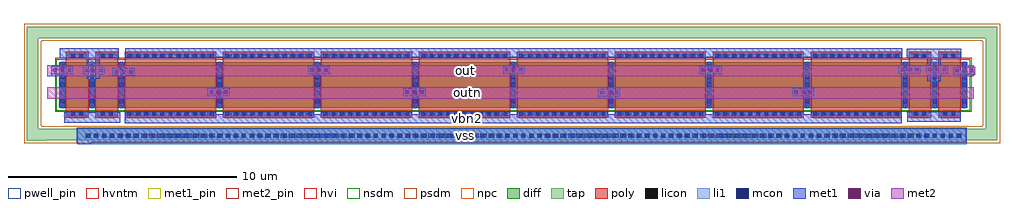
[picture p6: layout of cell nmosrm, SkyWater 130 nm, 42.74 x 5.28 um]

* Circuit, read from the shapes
.subckt nmosrm out outn vbn2 vss
XM1 out out out vss sky130_fd_pr__nfet_g5v0d10v5 w=2 l=1 m=4
XM2 outn vbn2 out vss sky130_fd_pr__nfet_g5v0d10v5 w=2 l=4 m=8
.ends

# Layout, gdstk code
from math import pi, radians
import gdstk
lib = gdstk.Library(unit=1e-6, precision=1e-09)
def R(c, l, rs):  # rectangles x0, y0, x1, y1
    for r in rs: c.add(gdstk.rectangle(r[:2], r[2:], *l))
def A(c, l, x, y, w, h, nx, ny, dx, dy):  # array of equal rectangles
    R(c, l, [(x+i*dx, y+j*dy, x+i*dx+w, y+j*dy+h) for i in range(nx) for j in range(ny)])
diff = (65, 20)
tap = (65, 44)
poly = (66, 20)
licon = (66, 44)
li1 = (67, 20)
mcon = (67, 44)
met1_pin = (68, 16)
met1 = (68, 20)
via = (68, 44)
met2_pin = (69, 16)
met2 = (69, 20)
hvi = (75, 20)
nsdm = (93, 44)
psdm = (94, 20)
npc = (95, 20)
pwell_pin = (122, 16)
hvntm = (125, 20)

viam1m2_1u = lib.new_cell('viam1m2_1u')
R(viam1m2_1u, met1, [(-0.02,-0.04,0.33,0.94)])
A(viam1m2_1u, via, 0.075, 0.06, 0.15, 0.15, 1, 3, 0, 0.32)
R(viam1m2_1u, met2, [(-0.02,-0.04,0.33,0.94)])

sky130_fd_pr__nfet_g5v0d = lib.new_cell('sky130_fd_pr__nfet_g5v0d10v5_8EXDUM')
R(sky130_fd_pr__nfet_g5v0d, diff, [(-1.435,-1,1.435,1)])
R(sky130_fd_pr__nfet_g5v0d, poly, [(-1.145,-1.44,-0.145,1.44), (0.145,-1.44,1.145,1.44)])
A(sky130_fd_pr__nfet_g5v0d, licon, -1.375, -0.935, 0.17, 0.17, 3, 6, 1.29, 0.34)
R(sky130_fd_pr__nfet_g5v0d, licon, [(-0.9,-1.36,-0.73,-1.19), (-0.56,-1.36,-0.39,-1.19), (0.39,-1.36,0.56,-1.19), (0.73,-1.36,0.9,-1.19), (-0.9,1.19,-0.73,1.36), (-0.56,1.19,-0.39,1.36), (0.39,1.19,0.56,1.36), (0.73,1.19,0.9,1.36)])
A(sky130_fd_pr__nfet_g5v0d, li1, -1.375, -1.02, 0.17, 2.04, 3, 1, 1.29, 0)
R(sky130_fd_pr__nfet_g5v0d, li1, [(-1.145,-1.36,-0.145,-1.19), (0.145,-1.36,1.145,-1.19), (-1.145,1.19,-0.145,1.36), (0.145,1.19,1.145,1.36)])
A(sky130_fd_pr__nfet_g5v0d, mcon, -1.375, -0.805, 0.17, 0.17, 3, 5, 1.29, 0.36)
R(sky130_fd_pr__nfet_g5v0d, mcon, [(-0.91,-1.36,-0.74,-1.19), (-0.55,-1.36,-0.38,-1.19), (0.38,-1.36,0.55,-1.19), (0.74,-1.36,0.91,-1.19), (-0.91,1.19,-0.74,1.36), (-0.55,1.19,-0.38,1.36), (0.38,1.19,0.55,1.36), (0.74,1.19,0.91,1.36)])
A(sky130_fd_pr__nfet_g5v0d, met1, -1.405, -1, 0.23, 2, 3, 1, 1.29, 0)
R(sky130_fd_pr__nfet_g5v0d, met1, [(-1.125,-1.39,-0.165,-1.16), (0.165,-1.39,1.125,-1.16), (-1.125,1.16,-0.165,1.39), (0.165,1.16,1.125,1.39)])
R(sky130_fd_pr__nfet_g5v0d, hvi, [(-1.62,-1.185,1.62,1.185)])
R(sky130_fd_pr__nfet_g5v0d, nsdm, [(-1.56,-1.125,1.56,1.125)])
R(sky130_fd_pr__nfet_g5v0d, npc, [(-1,-1.46,-0.29,-1.09), (0.29,-1.46,1,-1.09), (-1,1.09,-0.29,1.46), (0.29,1.09,1,1.46)])
R(sky130_fd_pr__nfet_g5v0d, hvntm, [(-1.62,-1.185,1.62,1.185)])

c_sky130_fd_pr__nfet_g5v0d = lib.new_cell('sky130_fd_pr__nfet_g5v0d10v5_6PTDUZ')
R(c_sky130_fd_pr__nfet_g5v0d, diff, [(-17.305,-1,17.305,1)])
A(c_sky130_fd_pr__nfet_g5v0d, poly, -17.015, -1.44, 4, 2.88, 8, 1, 4.29, 0)
A(c_sky130_fd_pr__nfet_g5v0d, licon, -16.8, -1.36, 0.17, 0.17, 11, 2, 0.34, 2.55)
A(c_sky130_fd_pr__nfet_g5v0d, licon, -12.51, -1.36, 0.17, 0.17, 11, 2, 0.34, 2.55)
A(c_sky130_fd_pr__nfet_g5v0d, licon, -8.22, -1.36, 0.17, 0.17, 11, 2, 0.34, 2.55)
A(c_sky130_fd_pr__nfet_g5v0d, licon, -3.93, -1.36, 0.17, 0.17, 11, 2, 0.34, 2.55)
A(c_sky130_fd_pr__nfet_g5v0d, licon, 0.36, -1.36, 0.17, 0.17, 11, 2, 0.34, 2.55)
A(c_sky130_fd_pr__nfet_g5v0d, licon, 4.65, -1.36, 0.17, 0.17, 11, 2, 0.34, 2.55)
A(c_sky130_fd_pr__nfet_g5v0d, licon, 8.94, -1.36, 0.17, 0.17, 11, 2, 0.34, 2.55)
A(c_sky130_fd_pr__nfet_g5v0d, licon, 13.23, -1.36, 0.17, 0.17, 11, 2, 0.34, 2.55)
A(c_sky130_fd_pr__nfet_g5v0d, licon, -17.245, -0.935, 0.17, 0.17, 9, 6, 4.29, 0.34)
A(c_sky130_fd_pr__nfet_g5v0d, li1, -17.015, -1.36, 4, 0.17, 8, 2, 4.29, 2.55)
A(c_sky130_fd_pr__nfet_g5v0d, li1, -17.245, -1.02, 0.17, 2.04, 9, 1, 4.29, 0)
A(c_sky130_fd_pr__nfet_g5v0d, mcon, -16.9, -1.36, 0.17, 0.17, 11, 2, 0.36, 2.55)
A(c_sky130_fd_pr__nfet_g5v0d, mcon, -12.61, -1.36, 0.17, 0.17, 11, 2, 0.36, 2.55)
A(c_sky130_fd_pr__nfet_g5v0d, mcon, -8.32, -1.36, 0.17, 0.17, 11, 2, 0.36, 2.55)
A(c_sky130_fd_pr__nfet_g5v0d, mcon, -4.03, -1.36, 0.17, 0.17, 11, 2, 0.36, 2.55)
A(c_sky130_fd_pr__nfet_g5v0d, mcon, 0.26, -1.36, 0.17, 0.17, 11, 2, 0.36, 2.55)
A(c_sky130_fd_pr__nfet_g5v0d, mcon, 4.55, -1.36, 0.17, 0.17, 11, 2, 0.36, 2.55)
A(c_sky130_fd_pr__nfet_g5v0d, mcon, 8.84, -1.36, 0.17, 0.17, 11, 2, 0.36, 2.55)
A(c_sky130_fd_pr__nfet_g5v0d, mcon, 13.13, -1.36, 0.17, 0.17, 11, 2, 0.36, 2.55)
A(c_sky130_fd_pr__nfet_g5v0d, mcon, -17.245, -0.805, 0.17, 0.17, 9, 5, 4.29, 0.36)
A(c_sky130_fd_pr__nfet_g5v0d, met1, -16.995, -1.39, 3.96, 0.23, 8, 2, 4.29, 2.55)
A(c_sky130_fd_pr__nfet_g5v0d, met1, -17.275, -1, 0.23, 2, 9, 1, 4.29, 0)
R(c_sky130_fd_pr__nfet_g5v0d, hvi, [(-17.49,-1.185,17.49,1.185)])
R(c_sky130_fd_pr__nfet_g5v0d, nsdm, [(-17.43,-1.125,17.43,1.125)])
A(c_sky130_fd_pr__nfet_g5v0d, npc, -16.9, -1.46, 3.77, 0.37, 8, 2, 4.29, 2.55)
R(c_sky130_fd_pr__nfet_g5v0d, hvntm, [(-17.49,-1.185,17.49,1.185)])

nmosrm = lib.new_cell('nmosrm')
R(nmosrm, tap, [(-4,-1,-3.19,-0.99), (-4,-0.99,38.49,-0.49), (-4,-0.49,-3.5,3.49), (37.99,-0.49,38.49,3.49), (-4,3.49,38.49,3.99)])
A(nmosrm, licon, -1.38, -0.88, 0.17, 0.17, 113, 1, 0.34, 0)
R(nmosrm, li1, [(-1.79,-1.16,37.15,-0.44), (-1.75,-0.44,-1.21,-0.43)])
A(nmosrm, mcon, -1.42, -0.88, 0.17, 0.17, 107, 1, 0.36, 0)
R(nmosrm, met1_pin, [(15.1,-0.21,15.52,0.1)])
R(nmosrm, met1, [(-1.75,-1.15,-1.21,-1.08), (-1.81,-1.08,37.13,-0.43), (0.28,-0.24,34.32,0.16), (-2.36,-0.22,0.08,0.24), (34.55,-0.17,36.9,0.26), (35.44,1.59,36.02,2.63), (-1.38,1.71,-0.81,2.61), (-2.55,2.61,0.03,3.04), (34.54,2.63,36.92,3.03), (0.3,2.65,34.34,3.05)])
R(nmosrm, met2_pin, [(15.04,0.92,15.54,1.28), (14.96,1.84,15.46,2.29)])
R(nmosrm, met2, [(-3.1,0.84,37.47,1.33), (-3.1,1.81,37.47,2.3)])
R(nmosrm, psdm, [(-4.125,-1.125,-3.065,-1.115), (-4.125,-1.115,38.615,-0.365), (-4.125,-0.365,-3.375,3.365), (37.865,-0.365,38.615,3.365), (-4.125,3.365,38.615,4.115)])
R(nmosrm, pwell_pin, [(14.93,-0.9,15.49,-0.65)])
nmosrm.add(gdstk.Reference(viam1m2_1u, (12.52,1.27), rotation=3*pi/2))
nmosrm.add(gdstk.Reference(viam1m2_1u, (3.94,1.28), rotation=3*pi/2))
nmosrm.add(gdstk.Reference(viam1m2_1u, (8.33,2.24), rotation=3*pi/2))
nmosrm.add(gdstk.Reference(viam1m2_1u, (-0.22,2.16), rotation=3*pi/2))
nmosrm.add(gdstk.Reference(viam1m2_1u, (-1.52,2.21), rotation=3*pi/2))
nmosrm.add(gdstk.Reference(viam1m2_1u, (-2.9,2.24), rotation=3*pi/2))
nmosrm.add(gdstk.Reference(viam1m2_1u, (16.87,2.26), rotation=3*pi/2))
nmosrm.add(gdstk.Reference(sky130_fd_pr__nfet_g5v0d, (-1.145,1.44), rotation=pi, x_reflection=True))
nmosrm.add(gdstk.Reference(viam1m2_1u, (36.6,2.21), rotation=3*pi/2))
nmosrm.add(gdstk.Reference(viam1m2_1u, (34.21,2.26), rotation=3*pi/2))
nmosrm.add(gdstk.Reference(viam1m2_1u, (29.55,1.27), rotation=3*pi/2))
nmosrm.add(gdstk.Reference(viam1m2_1u, (25.48,2.24), rotation=3*pi/2))
nmosrm.add(gdstk.Reference(viam1m2_1u, (21.05,1.25), rotation=3*pi/2))
nmosrm.add(gdstk.Reference(viam1m2_1u, (35.41,2.26), rotation=3*pi/2))
nmosrm.add(gdstk.Reference(sky130_fd_pr__nfet_g5v0d, (35.755,1.44)))
nmosrm.add(gdstk.Reference(c_sky130_fd_pr__nfet_g5v0d, (17.305,1.44)))
nmosrm.add(gdstk.Label('vss', (15.21,-0.775), layer=64, texttype=59))
nmosrm.add(gdstk.Label('out', (15.21,2.065), layer=69, texttype=5))
nmosrm.add(gdstk.Label('outn', (15.29,1.1), layer=69, texttype=5))
nmosrm.add(gdstk.Label('vbn2', (15.31,-0.055), layer=68, texttype=5))

lib.write_gds('nmosrm.gds')
